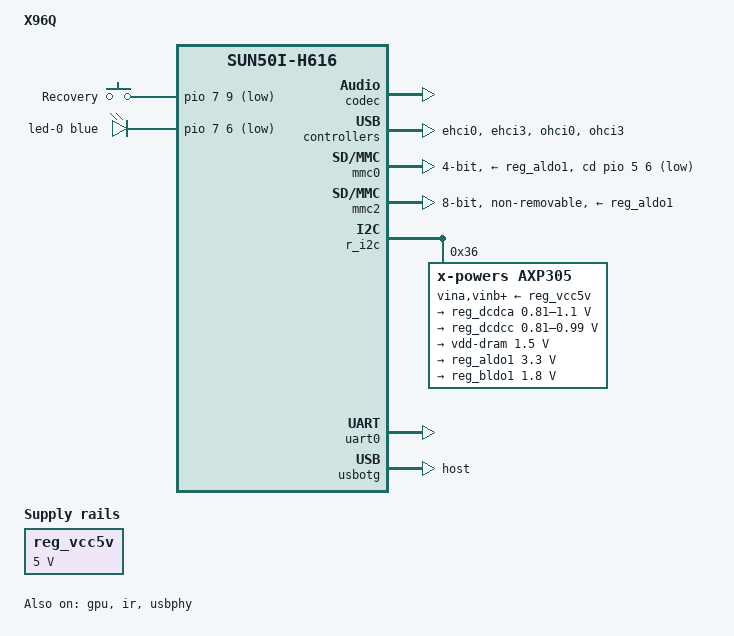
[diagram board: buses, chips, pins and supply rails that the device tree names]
// SPDX-License-Identifier: (GPL-2.0-or-later OR MIT)
/*
 * Copyright (C) 2025 J. Neuschäfer <j.ne@posteo.net>
 */

/dts-v1/;

#include "sun50i-h616.dtsi"
#include "sun50i-h616-cpu-opp.dtsi"

#include <dt-bindings/gpio/gpio.h>
#include <dt-bindings/interrupt-controller/arm-gic.h>
#include <dt-bindings/input/linux-event-codes.h>
#include <dt-bindings/leds/common.h>

/ {
	model = "X96Q";
	compatible = "amediatech,x96q", "allwinner,sun50i-h616";

	aliases {
		serial0 = &uart0;
	};

	chosen {
		stdout-path = "serial0:115200n8";
	};

	reg_vcc5v: vcc5v {
		/* board wide 5V supply directly from the DC input */
		compatible = "regulator-fixed";
		regulator-name = "vcc-5v";
		regulator-min-microvolt = <5000000>;
		regulator-max-microvolt = <5000000>;
		regulator-always-on;
	};

	gpio-keys {
		compatible = "gpio-keys";

		key-recovery {
			label = "Recovery";
			linux,code = <KEY_VENDOR>;
			gpios = <&pio 7 9 GPIO_ACTIVE_LOW>;
		};
	};

	leds {
		compatible = "gpio-leds";

		led-0 {
			color = <LED_COLOR_ID_BLUE>;
			gpios = <&pio 7 6 GPIO_ACTIVE_LOW>;
			default-state = "on";
		};
	};
};

&codec {
	allwinner,audio-routing = "Line Out", "LINEOUT";
	status = "okay";
};

&cpu0 {
	cpu-supply = <&reg_dcdca>;
};

&ehci0 {
	status = "okay";
};

&ehci3 {
	status = "okay";
};

/* TODO: EMAC1 connected to AC200 PHY */

&gpu {
	mali-supply = <&reg_dcdcc>;
	status = "okay";
};

&ir {
	status = "okay";
};

&mmc0 {
	/* microSD */
	vmmc-supply = <&reg_aldo1>;
	cd-gpios = <&pio 5 6 GPIO_ACTIVE_LOW>;	/* PF6 */
	disable-wp;
	bus-width = <4>;
	status = "okay";
};

/* TODO: XRadio XR819 WLAN @ mmc1 */

&mmc2 {
	/* eMMC */
	vmmc-supply = <&reg_aldo1>;
	vqmmc-supply = <&reg_bldo1>;
	non-removable;
	cap-mmc-hw-reset;
	mmc-ddr-1_8v;
	mmc-hs200-1_8v;
	max-frequency = <100000000>; /* required for stable operation */
	bus-width = <8>;
	status = "okay";
};

&ohci0 {
	status = "okay";
};

&ohci3 {
	status = "okay";
};

&r_i2c {
	status = "okay";

	axp305: pmic@36 {
		compatible = "x-powers,axp305", "x-powers,axp805",
			     "x-powers,axp806";
		interrupt-controller;
		#interrupt-cells = <1>;
		reg = <0x36>;

		x-powers,self-working-mode;
		vina-supply = <&reg_vcc5v>;
		vinb-supply = <&reg_vcc5v>;
		vinc-supply = <&reg_vcc5v>;
		vind-supply = <&reg_vcc5v>;
		vine-supply = <&reg_vcc5v>;
		aldoin-supply = <&reg_vcc5v>;
		bldoin-supply = <&reg_vcc5v>;
		cldoin-supply = <&reg_vcc5v>;

		regulators {
			reg_dcdca: dcdca {
				regulator-always-on;
				regulator-min-microvolt = <810000>;
				regulator-max-microvolt = <1100000>;
				regulator-name = "vdd-cpu";
			};

			dcdcb {
				/* unused */
			};

			reg_dcdcc: dcdcc {
				regulator-always-on;
				regulator-min-microvolt = <810000>;
				regulator-max-microvolt = <990000>;
				regulator-name = "vdd-gpu-sys";
			};

			dcdcd {
				regulator-always-on;
				regulator-min-microvolt = <1500000>;
				regulator-max-microvolt = <1500000>;
				regulator-name = "vdd-dram";
			};

			dcdce {
				/* unused */
			};

			reg_aldo1: aldo1 {
				regulator-always-on;
				regulator-min-microvolt = <3300000>;
				regulator-max-microvolt = <3300000>;
				regulator-name = "vcc3v3";
			};

			aldo2 {
				/* unused */
			};

			aldo3 {
				/* unused */
			};

			reg_bldo1: bldo1 {
				regulator-always-on;
				regulator-min-microvolt = <1800000>;
				regulator-max-microvolt = <1800000>;
				regulator-name = "vcc1v8";
			};

			bldo2 {
				/* unused */
			};

			bldo3 {
				/* unused */
			};

			bldo4 {
				/* unused */
			};

			cldo1 {
				/* unused */
			};

			cldo2 {
				/* unused */
			};

			cldo3 {
				/* unused */
			};
		};
	};
};

&uart0 {
	pinctrl-names = "default";
	pinctrl-0 = <&uart0_ph_pins>;
	status = "okay";
};

&usbotg {
	dr_mode = "host";	/* USB A type receptacle */
	status = "okay";
};

&usbphy {
	status = "okay";
};
